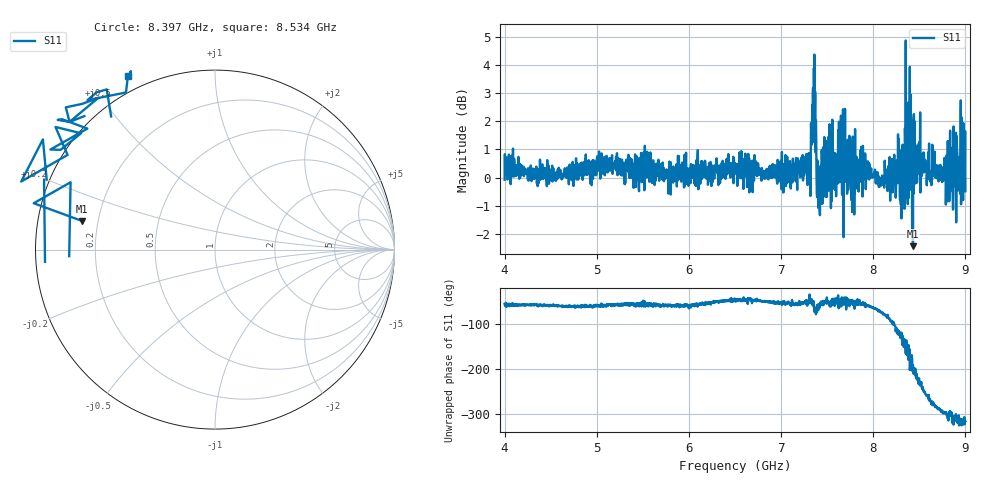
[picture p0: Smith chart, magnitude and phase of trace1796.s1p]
! Created with skrf 1.8.0 (http://scikit-rf.org).
# Hz S RI R 50.0
!freq ReS11 ImS11
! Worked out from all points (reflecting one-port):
!   1601 points, 4 GHz to 9 GHz, reference 50 ohm
!   lowest |S11| = -2.4 dB at 8.431 GHz (marker M1), VSWR 7.19, Z = 7.03 + j5.21 ohm
!   phase of S11 starts at -55 deg and turns -262 deg over the sweep
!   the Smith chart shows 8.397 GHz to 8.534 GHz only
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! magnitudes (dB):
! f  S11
! 4 GHz  -0.1
! 4.625 GHz  0.0
! 5.25 GHz  0.2
! 5.875 GHz  0.1
! 6.5 GHz  0.5
! 7.125 GHz  0.4
! 7.294 GHz  0.2
! 7.328 GHz  1.5
! 7.347 GHz  3.2
! 7.356 GHz  3.9
! 7.412 GHz  -0.8
! 7.512 GHz  1.4
! 7.591 GHz  0.0
! 7.65 GHz  2.2
! 7.75 GHz  0.0
! 7.891 GHz  -0.1
! 8.094 GHz  -0.2
! 8.259 GHz  0.6
! 8.312 GHz  0.8
! 8.334 GHz  -0.1
! 8.356 GHz  0.8
! 8.375 GHz  -0.9
! 8.431 GHz  -2.4
! 8.447 GHz  2.0
! 8.466 GHz  -0.1
! 8.841 GHz  1.1
! 8.972 GHz  0.4
! 9 GHz  -0.5
